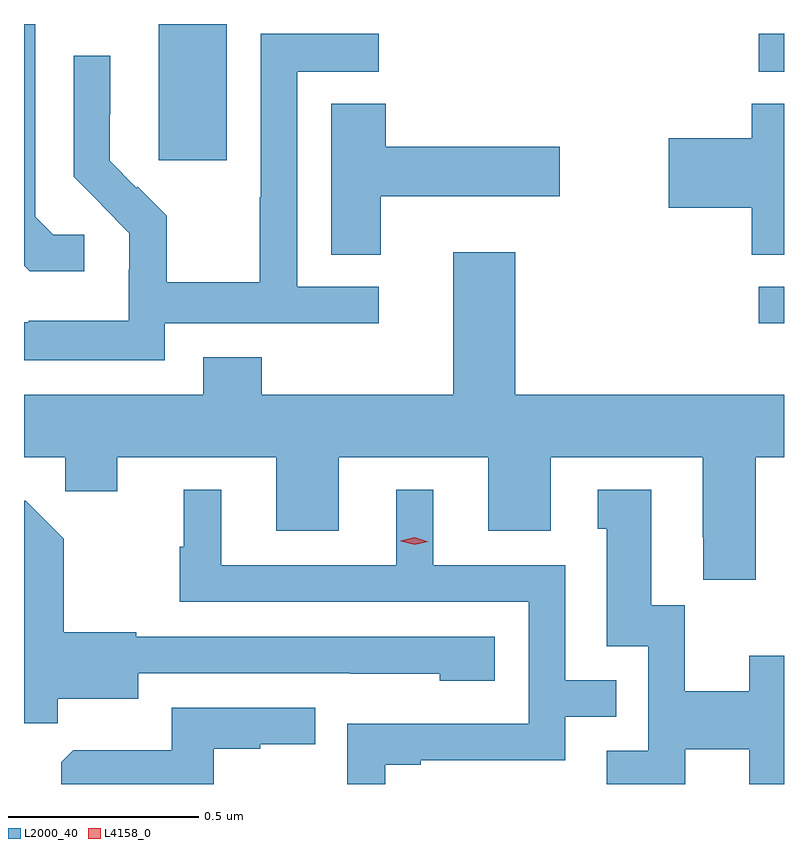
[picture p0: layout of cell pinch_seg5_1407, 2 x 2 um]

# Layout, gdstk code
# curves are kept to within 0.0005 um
import gdstk
lib = gdstk.Library(unit=1e-6, precision=1e-09)
def R(c, l, rs):  # rectangles x0, y0, x1, y1
    for r in rs: c.add(gdstk.rectangle(r[:2], r[2:], *l))
def P(c, l, *ps):  # polygons
    for p in ps: c.add(gdstk.Polygon(p, *l))
L2000_40 = (2000, 40)
L4158_0 = (4158, 0)

pinch_seg5_1407 = lib.new_cell('pinch_seg5_1407')
R(pinch_seg5_1407, L2000_40, [(333.645,909.06,333.711,909.156), (332.066,909.489,332.245,909.848), (333.645,909.723,333.711,909.822)])
P(pinch_seg5_1407, L2000_40, [(331.87,909.294),(331.788,909.294),(331.741,909.341),(331.741,909.848),(331.711,909.848),(331.711,909.212),(331.726,909.197),(331.87,909.197)],
  [(332.082,909.06),(332.644,909.06),(332.644,909.156),(332.43,909.156),(332.43,909.723),(332.644,909.723),(332.644,909.822),(332.334,909.822),(332.334,909.392),(332.332,909.392),(332.332,909.169),(332.087,909.169),(332.087,909.343),(332.01,909.42),(332.007,909.417),(331.937,909.488),(331.937,909.61),(331.938,909.61),(331.938,909.764),(331.842,909.764),(331.842,909.446),(331.915,909.373),(331.914,909.372),(331.988,909.298),(331.988,909.201),(331.986,909.201),(331.986,909.067),(331.723,909.067),(331.723,909.063),(331.711,909.063),(331.711,908.963),(332.082,908.963)],
  [(332.65,909.395),(333.121,909.395),(333.121,909.525),(332.663,909.525),(332.663,909.638),(332.519,909.638),(332.519,909.241),(332.65,909.241)],
  [(333.711,909.638),(333.626,909.638),(333.626,909.548),(333.408,909.548),(333.408,909.365),(333.626,909.365),(333.626,909.241),(333.711,909.241)],
  [(332.336,908.971),(332.183,908.971),(332.183,908.872),(331.711,908.872),(331.711,908.708),(331.819,908.708),(331.819,908.618),(331.957,908.618),(331.957,908.708),(332.375,908.708),(332.375,908.514),(332.539,908.514),(332.539,908.708),(332.933,908.708),(332.933,908.514),(333.097,908.514),(333.097,908.708),(333.497,908.708),(333.497,908.497),(333.498,908.497),(333.498,908.385),(333.637,908.385),(333.637,908.708),(333.711,908.708),(333.711,908.872),(333.004,908.872),(333.004,909.247),(332.84,909.247),(332.84,908.872),(332.336,908.872)],
  [(332.661,907.899),(332.755,907.899),(332.755,907.911),(333.135,907.911),(333.135,908.025),(333.269,908.025),(333.269,908.121),(333.135,908.121),(333.135,908.424),(332.788,908.424),(332.788,908.623),(332.69,908.623),(332.69,908.424),(332.23,908.424),(332.23,908.623),(332.132,908.623),(332.132,908.472),(332.121,908.472),(332.121,908.328),(333.039,908.328),(333.039,908.007),(332.562,908.007),(332.562,907.848),(332.661,907.848)],
  [(333.451,907.94),(333.62,907.94),(333.62,907.848),(333.711,907.848),(333.711,908.185),(333.62,908.185),(333.62,908.092),(333.45,908.092),(333.45,908.319),(333.361,908.319),(333.361,908.623),(333.221,908.623),(333.221,908.52),(333.245,908.52),(333.245,908.211),(333.354,908.211),(333.354,907.935),(333.245,907.935),(333.245,907.848),(333.451,907.848)],
  [(331.8,908.072),(332.011,908.072),(332.011,908.139),(332.569,908.139),(332.569,908.138),(332.805,908.138),(332.805,908.12),(332.95,908.12),(332.95,908.235),(332.007,908.235),(332.007,908.248),(331.815,908.248),(331.815,908.493),(331.715,908.593),(331.711,908.593),(331.711,908.008),(331.8,908.008)],
  [(332.21,907.941),(332.333,907.941),(332.333,907.952),(332.477,907.952),(332.477,908.049),(332.1,908.049),(332.1,907.937),(331.841,907.937),(331.809,907.905),(331.809,907.848),(332.21,907.848)])
P(pinch_seg5_1407, L4158_0, [(332.739,908.477),(332.703,908.487),(332.703,908.488),(332.703,908.488),(332.739,908.497),(332.775,908.486),(332.775,908.486),(332.775,908.486)])

lib.write_gds('pinch_seg5_1407.gds')
